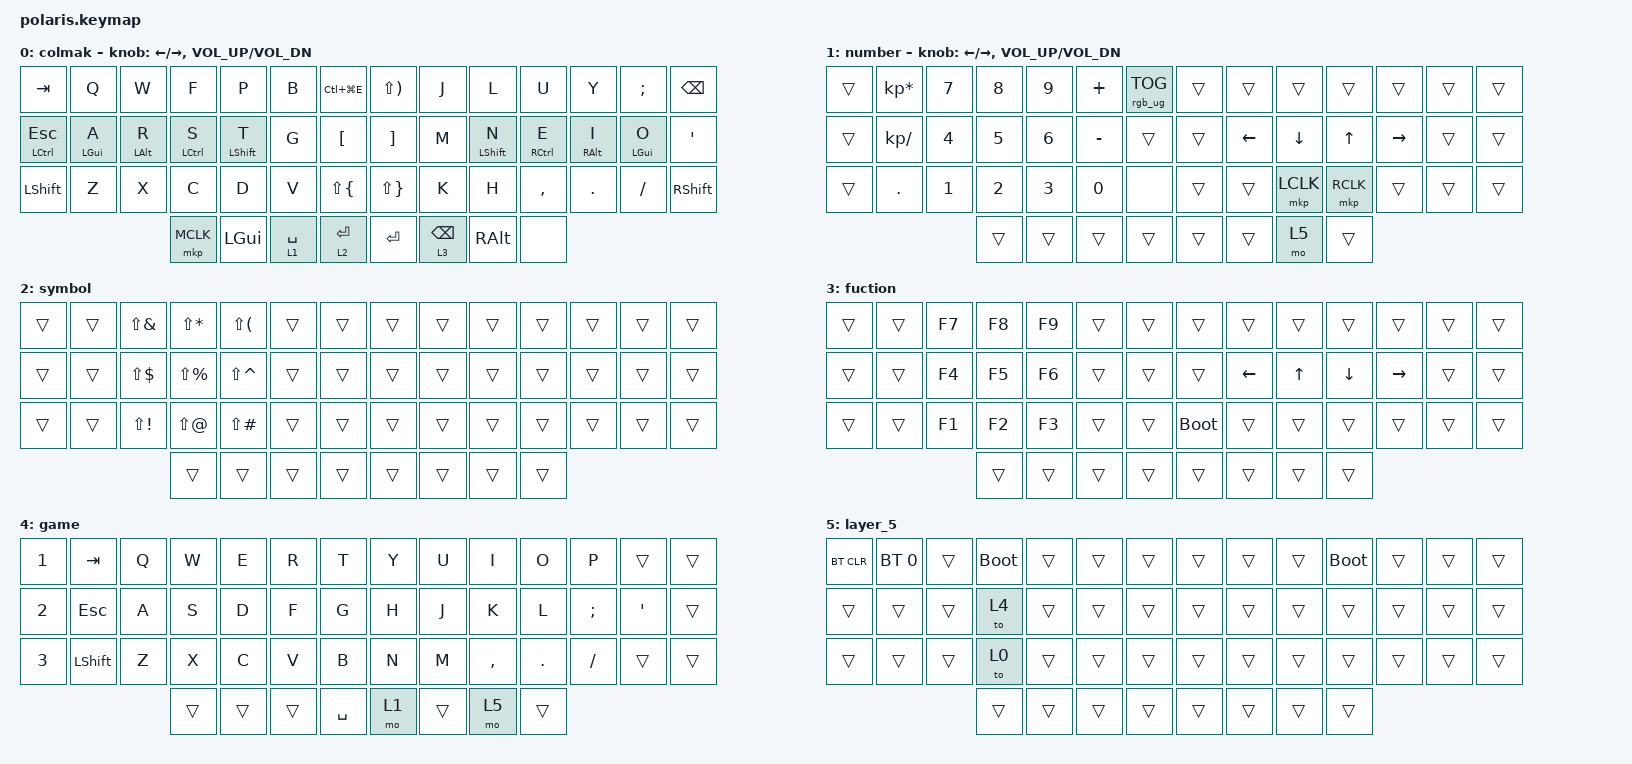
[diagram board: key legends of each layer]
#define ZMK_MOUSE_DEFAULT_SCRL_VAL 140

#include <behaviors/mouse_keys.dtsi>
#include <dt-bindings/zmk/mouse.h>
#include <behaviors.dtsi>
#include <dt-bindings/zmk/bt.h>
#include <dt-bindings/zmk/keys.h>
#include <dt-bindings/zmk/pointing.h>
#include <dt-bindings/zmk/rgb.h>

/ {
    combos {
        compatible = "zmk,combos";

        bracket {
            bindings = <&kp LEFT_PARENTHESIS>;
            key-positions = <18 17>;
            layers = <0>;
        };

        bracket_r {
            bindings = <&kp RIGHT_PARENTHESIS>;
            key-positions = <23 24>;
            layers = <0>;
        };

        lb {
            bindings = <&kp LEFT_BRACKET>;
            key-positions = <16 17>;
            layers = <0>;
        };

        rb {
            bindings = <&kp RIGHT_BRACKET>;
            key-positions = <24 25>;
            layers = <0>;
        };

        lf {
            bindings = <&kp LEFT_BRACE>;
            key-positions = <15 16>;
            layers = <0>;
        };

        rba {
            bindings = <&kp RIGHT_BRACE>;
            key-positions = <25 26>;
            layers = <0>;
        };

        plus {
            bindings = <&kp DELETE>;
            key-positions = <31 30>;
            layers = <0>;
        };

        minus {
            bindings = <&kp MINUS>;
            key-positions = <22 23>;
            layers = <0>;
        };

        caret {
            bindings = <&kp CARET>;
            key-positions = <7 8>;
            layers = <0>;
        };

        underscore {
            bindings = <&kp UNDERSCORE>;
            key-positions = <36 37>;
            layers = <0>;
        };

        pipe {
            bindings = <&kp PIPE>;
            key-positions = <9 10>;
            layers = <0>;
        };

        and {
            bindings = <&kp PLUS>;
            key-positions = <19 18>;
            layers = <0>;
        };

        at {
            bindings = <&kp AT>;
            key-positions = <2 3>;
            layers = <0>;
        };

        tick {
            bindings = <&kp GRAVE>;
            key-positions = <0 1>;
            layers = <0>;
        };

        hash {
            bindings = <&kp HASH>;
            key-positions = <3 2>;
            layers = <0>;
        };

        dollar {
            bindings = <&kp TILDE>;
            key-positions = <4 3>;
            layers = <0>;
        };

        equal {
            bindings = <&kp EQUAL>;
            key-positions = <33 32>;
            layers = <0>;
        };

        percent {
            bindings = <&kp PERCENT>;
            key-positions = <6 7>;
            layers = <0>;
        };

        exam {
            bindings = <&kp EXCL>;
            key-positions = <1 2>;
            layers = <0>;
        };

        backspace {
            bindings = <&kp BACKSPACE>;
            key-positions = <31 32>;
            layers = <0>;
        };

        switch {
            bindings = <&mo 8>;
            key-positions = <39 40>;
        };

        reverse {
            bindings = <&sl 10>;
            key-positions = <37 38>;
        };
    };

    behaviors {
        hml: homewrow_mods_left {
            compatible = "zmk,behavior-hold-tap";
            label = "homewrow_mods_left";
            bindings = <&kp>, <&kp>;

            #binding-cells = <2>;
            hold-trigger-key-positions = <7 8 9 10 11 12 13 21 22 23 24 25 26 27 35 36 37 38 39 40 41 45 46 47>;
            tapping-term-ms = <300>;
            flavor = "balanced";
            quick-tap-ms = <175>;
            require-prior-idle-ms = <250>;
            hold-trigger-on-release;
        };

        hmr: hmr {
            compatible = "zmk,behavior-hold-tap";
            label = "HMR";
            bindings = <&kp>, <&kp>;

            #binding-cells = <2>;
            tapping-term-ms = <300>;
            hold-trigger-key-positions = <0 1 2 3 4 5 6 14 15 16 17 18 19 20 28 29 30 31 32 33 34 42 43 44>;
            flavor = "balanced";
            quick-tap-ms = <175>;
            require-prior-idle-ms = <250>;
            hold-trigger-on-release;
        };

        tap_preferred: tap_preferred {
            compatible = "zmk,behavior-hold-tap";
            label = "TAP_PREFERRED";
            bindings = <&mo>, <&kp>;

            #binding-cells = <2>;
            tapping-term-ms = <40>;
            flavor = "tap-preferred";
        };

        scroll_up_down: behavior_sensor_rotate_mouse_wheel_up_down {
            compatible = "zmk,behavior-sensor-rotate";
            #sensor-binding-cells = <0>;
            bindings = <&msc SCRL_UP>, <&msc SCRL_DOWN>;

            tap-ms = <30>;
        };
    };

    macros {
        ceo: ceo {
            compatible = "zmk,behavior-macro";
            #binding-cells = <0>;
            bindings = <&kp M &kp ENTER &kp DOWN &kp DOWN &kp DOWN &kp DOWN &kp ENTER &kp DOWN &kp ENTER>;
            label = "CEO";
        };
    };

    keymap {
        compatible = "zmk,keymap";

        default_layer {
            // --------------------------------------------------------------------------------------------------------------------------------------------------------------------
            // |   ESC   |    Q    |    W    |    E    |    R    |    T    |                                          |    Y    |    U    |    I    |    O    |    P    |    \    |
            // |   TAB   |    A    |    S    |    D    |    F    |    G    |                                          |    H    |    J    |    K    |    L    |    ;    |    '    |
            // |  SHIFT  |    Z    |    X    |    C    |    V    |    B    | CTRL+A  | CTRL+C  |  |  CTRL+V |  CTRL+X |    N    |    M    |    ,    |    .    |    /    |  R CTRL |
            //                               |   GUI   |   DEL   | RETURN  |  SPACE  | ESCAPE  |  |  RETURN |  SPACE  |   TAB   |   BSPC  |  R ALT  |

            bindings = <
&kp TAB           &kp Q            &kp W            &kp F                &kp P              &kp B        &kp LC(LG(E))      &kp LS(RPAR)  &kp J            &kp L              &kp U                 &kp Y             &kp SEMI         &kp BSPC
&mt LCTRL ESCAPE  &hml LEFT_GUI A  &hml LEFT_ALT R  &hml LEFT_CONTROL S  &hml LEFT_SHIFT T  &kp G        &kp LBKT           &kp RBKT      &kp M            &hmr LEFT_SHIFT N  &hmr RIGHT_CONTROL E  &hmr RIGHT_ALT I  &hmr LEFT_GUI O  &kp SQT
&kp LEFT_SHIFT    &kp Z            &kp X            &kp C                &kp D              &kp V        &kp LS(LBRC)       &kp LS(RBRC)  &kp K            &kp H              &kp COMMA             &kp DOT           &kp FSLH         &kp RSHFT
                                                    &mkp MCLK            &kp LGUI           &lt 1 SPACE  &lt 2 ENTER        &kp ENTER     &lt 3 BACKSPACE  &kp RALT           &none
            >;

            sensor-bindings =
                <&inc_dec_kp LEFT RIGHT>,
                <&inc_dec_kp C_VOLUME_UP C_VOL_DN>;
            label = "colmak";
        };

        num {
            bindings = <
&trans  &kp KP_MULTIPLY  &kp N7  &kp N8  &kp N9  &kp PLUS   &rgb_ug RGB_TOG      &trans  &trans          &trans          &trans        &trans           &trans  &trans
&trans  &kp KP_DIVIDE    &kp N4  &kp N5  &kp N6  &kp MINUS  &trans               &trans  &kp LEFT  &kp DOWN  &kp UP  &kp RIGHT  &trans  &trans
&trans  &kp DOT          &kp N1  &kp N2  &kp N3  &kp N0     &none                &trans  &trans          &mkp LCLK       &mkp RCLK     &trans           &trans  &trans
                                 &trans  &trans  &trans     &trans               &trans  &trans          &mo 5           &trans
            >;

            sensor-bindings =
                <&inc_dec_kp LEFT RIGHT>,
                <&inc_dec_kp C_VOLUME_UP C_VOL_DN>;
            label = "number";
        };

        symbol {
            bindings = <
&trans  &trans  &kp LS(AMPS)  &kp LS(STAR)   &kp LS(LPAR)   &trans  &trans      &trans  &trans  &trans  &trans  &trans  &trans  &trans
&trans  &trans  &kp LS(DLLR)  &kp LS(PRCNT)  &kp LS(CARET)  &trans  &trans      &trans  &trans  &trans  &trans  &trans  &trans  &trans
&trans  &trans  &kp LS(EXCL)  &kp LS(AT)     &kp LS(POUND)  &trans  &trans      &trans  &trans  &trans  &trans  &trans  &trans  &trans
                              &trans         &trans         &trans  &trans      &trans  &trans  &trans  &trans
            >;
        };

        fuction {
            bindings = <
&trans  &trans  &kp F7  &kp F8  &kp F9  &trans  &trans      &trans       &trans    &trans        &trans    &trans     &trans  &trans
&trans  &trans  &kp F4  &kp F5  &kp F6  &trans  &trans      &trans       &kp LEFT  &kp UP_ARROW  &kp DOWN  &kp RIGHT  &trans  &trans
&trans  &trans  &kp F1  &kp F2  &kp F3  &trans  &trans      &bootloader  &trans    &trans        &trans    &trans     &trans  &trans
                        &trans  &trans  &trans  &trans      &trans       &trans    &trans        &trans
            >;

        };

        game {
            bindings = <
&kp N1    &kp TAB  &kp Q  &kp W   &kp E   &kp R   &kp T          &kp Y  &kp U   &kp I      &kp O    &kp P     &trans    &trans
&kp N2    &kp ESC  &kp A  &kp S   &kp D   &kp F   &kp G          &kp H  &kp J   &kp K      &kp L    &kp SEMI  &kp APOS  &trans
&kp N3  &kp LSHFT  &kp Z  &kp X   &kp C   &kp V   &kp B          &kp N  &kp M   &kp COMMA  &kp DOT  &kp FSLH  &trans    &trans
                          &trans  &trans  &trans  &kp SPACE      &mo 1  &trans  &mo 5      &trans
            >;
        };

        layer_5 {
            bindings = <
&bt BT_CLR  &bt BT_SEL 0  &trans  &bootloader  &trans  &trans  &trans      &trans  &trans  &trans  &bootloader  &trans  &trans  &trans
&trans      &trans        &trans  &to 4        &trans  &trans  &trans      &trans  &trans  &trans  &trans       &trans  &trans  &trans
&trans      &trans        &trans  &to 0        &trans  &trans  &trans      &trans  &trans  &trans  &trans       &trans  &trans  &trans
                                  &trans       &trans  &trans  &trans      &trans  &trans  &trans  &trans
            >;
        };
    };
};
